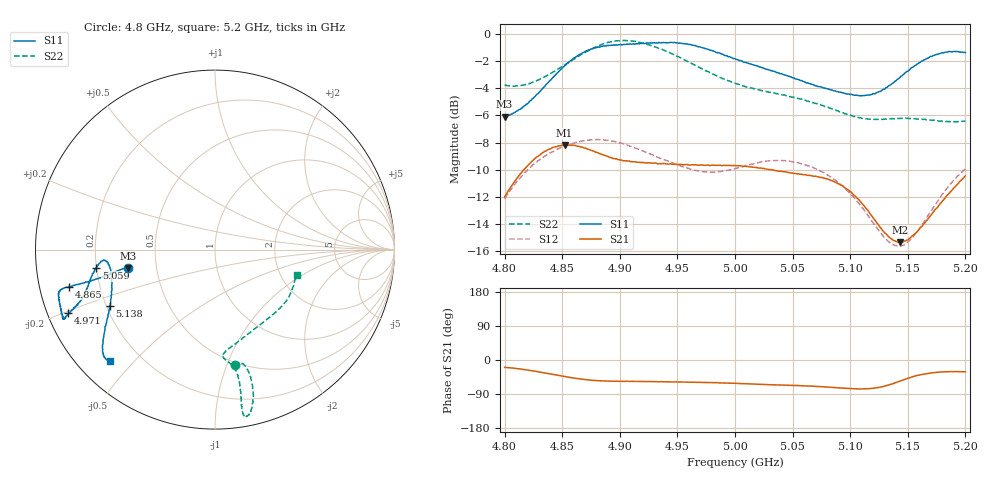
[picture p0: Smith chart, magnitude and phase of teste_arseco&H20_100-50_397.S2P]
! Network Analyzer HP8722D
! Hewlett-Packard
! Data name: Linha & Wilkinson
! Saver's name: Rodrigo Anjos
! Comments: Teste da utilização de aquisição
! continua pelo VNA HP8722D
! Time and date: 6/5/2025 15:52
!  Frequency  S11  S21  S12  S22
# HZ  S  MA R 50
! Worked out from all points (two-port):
!   401 points, 4.8 GHz to 5.2 GHz, reference 50 ohm
!   highest |S21| = -8.16 dB at 4.852 GHz (marker M1); lowest = -15.3 dB at 5.143 GHz (marker M2)
!   |S21| within 3 dB of the highest: 4.806 GHz to 5.093 GHz (286.9 MHz wide, 5.8 % of centre); 5.191983 GHz to end of sweep
!   lowest |S11| = -6.1 dB at 4.8 GHz (marker M3), VSWR 2.97, Z = 17 - j4.6 ohm
!   |S11| at or under -10 dB: nowhere
!   |S22| runs from -6.5 to -0.5 dB; largest |S21 - S12| = 0.62
!   S11 on the Smith chart (normalised r, x): 4.8 GHz: 0.34, -0.09; 4.865 GHz: 0.09, -0.12; 4.971 GHz: 0.06, -0.21; 5.059 GHz: 0.20, -0.07; 5.138 GHz: 0.21, -0.24; 5.2 GHz: 0.09, -0.43
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4.8e9  0.496 -168.1  0.251 -19.5  0.2479 -140.7  0.6496 -80.4
4.823e9  0.5697 -167.4  0.3374 -27.8  0.3245 -143.5  0.6596 -75.9
4.852e9  0.7622 -165.7  0.3908 -43.5  0.3867 -149.2  0.7676 -74.4
4.865e9  0.8392 -165.8  0.3851 -49.8  0.4014 -151.5  0.8315 -75.1
4.867e9  0.8488 -165.6  0.3837 -50.6  0.403 -151.8  0.8431 -75.3
4.883e9  0.8963 -165.0  0.3619 -55.0  0.4086 -154.6  0.9088 -76.9
4.901e9  0.9138 -162.2  0.3436 -56.1  0.3966 -156.6  0.9443 -79.1
4.934e9  0.9305 -156.2  0.3333 -57.4  0.3507 -155.6  0.8836 -80.4
4.951e9  0.9233 -155.3  0.3307 -58.1  0.3289 -152.5  0.8236 -79.8
4.971e9  0.8904 -156.5  0.3291 -59.1  0.312 -146.4  0.7459 -79.6
5e9  0.8099 -158.8  0.3277 -61.7  0.3199 -137.1  0.6582 -81.2
5.035e9  0.7249 -165.2  0.3144 -65.6  0.3419 -134.2  0.6043 -85.6
5.059e9  0.6688 -171.2  0.3036 -68.1  0.3316 -135.9  0.5723 -84.4
5.067e9  0.6521 -172.9  0.3003 -68.9  0.3236 -136.6  0.5594 -82.5
5.099e9  0.601 -172.6  0.2653 -75.4  0.2617 -138.8  0.503 -68.1
5.116e9  0.5956 -165.2  0.2222 -76.0  0.2132 -135.5  0.4857 -55.8
5.134e9  0.6458 -154.2  0.1784 -65.4  0.171 -120.8  0.4869 -43.4
5.138e9  0.6643 -151.8  0.1736 -61.3  0.1672 -115.8  0.4869 -40.9
5.143e9  0.6901 -149.2  0.1714 -56.0  0.1659 -109.1  0.4887 -38.0
5.154e9  0.7533 -144.4  0.1809 -44.6  0.1784 -95.1  0.4882 -32.3
5.172e9  0.8328 -138.9  0.2208 -33.7  0.2293 -81.0  0.481 -24.5
5.2e9  0.8527 -133.4  0.3004 -31.2  0.3183 -76.7  0.4773 -17.5
